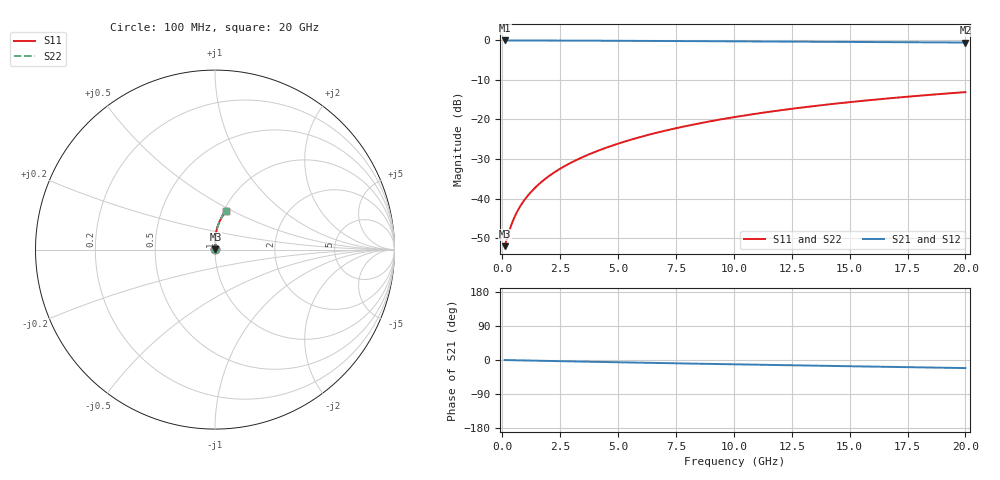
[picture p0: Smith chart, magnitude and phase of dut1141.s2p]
! Touchstone file exported from HFSS 2024.1.0
!  File:  C:/UserFiles/LocalFiles/RDL_TSV_Batchsim/temp_RDL_top_1141_1780047808.aedt
!  Generated:  05:45:42 PM May 29, 2026
!  Design:  RDL_top
!  Project:  temp_RDL_top_1141_1780047808
!  Setup:  Setup1
!  Solution:  Sweep
! Variables:
!  dtsv = 10.80580581um
!  hbump = 3um
!  htsv = 57.94um
!  ldown = 100um
!  lrdl = 272.32um
!  p = 40
!  p1 = 48.56um
!  rhole = 1um
!  t = 450um
!  tdown = 3.915915916um
!  trdl = 2.14um
!  wdown = 15.38538539um
!  wrdl = 24.04um
# GHz S MA R 50.000000
! Terminal data exported
! Port[1] = Box2_T1
! Port[2] = Box2_T2
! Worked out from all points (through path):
!   200 points, 100 MHz to 20 GHz, reference 50 ohm
!   highest |S21| = -0.02 dB at 100 MHz (marker M1); lowest = -0.5 dB at 20 GHz (marker M2)
!   group delay of S21, straight-line fit = 2.93 ps
!   lowest |S11| = -52.0 dB at 100 MHz (marker M3), VSWR 1.01, Z = 50.2 + j0.105 ohm
!   |S11| at or under -10 dB: start of sweep to end of sweep
!   |S22| runs from -52.0 to -13.1 dB; largest |S21 - S12| = 4.5e-15
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0.1  0.002504 24.7  0.9977 -0.1  0.9977 -0.1  0.002504 24.7
! Gamma 0 0 0 0
! Port Impedance 50 0 50 0
0.3  0.0039 52.1  0.9976 -0.4  0.9976 -0.4  0.0039 52.1
0.4  0.004743 58.7  0.9974 -0.5  0.9974 -0.5  0.004743 58.7
0.6  0.006476 66.4  0.9972 -0.8  0.9972 -0.8  0.006476 66.4
0.7  0.007348 69.0  0.9971 -0.9  0.9971 -0.9  0.007348 69.0
0.9  0.009104 72.9  0.9969 -1.1  0.9969 -1.1  0.009104 72.9
1.2  0.01177 76.8  0.9965 -1.5  0.9965 -1.5  0.01177 76.8
1.4  0.01358 78.7  0.9963 -1.7  0.9963 -1.7  0.01358 78.7
1.7  0.01633 80.8  0.9959 -2.1  0.9959 -2.1  0.01633 80.8
2.2  0.02101 83.3  0.9951 -2.7  0.9951 -2.7  0.02101 83.3
2.8  0.02679 85.2  0.9939 -3.4  0.9939 -3.4  0.02679 85.2
3.5  0.03376 86.6  0.9924 -4.3  0.9924 -4.3  0.03376 86.6
4.2  0.04096 87.5  0.9906 -5.1  0.9906 -5.1  0.04096 87.5
5  0.04947 88.0  0.9884 -6.0  0.9884 -6.0  0.04947 88.0
5.9  0.05935 88.1  0.9857 -7.0  0.9857 -7.0  0.05935 88.1
6.8  0.06952 87.9  0.9829 -8.0  0.9829 -8.0  0.06952 87.9
8.4  0.08806 87.0  0.9778 -9.7  0.9778 -9.7  0.08806 87.0
10.1  0.1081 85.5  0.9723 -11.5  0.9723 -11.5  0.1081 85.5
11.7  0.1271 83.8  0.9671 -13.1  0.9671 -13.1  0.1271 83.8
13.4  0.1471 81.9  0.9616 -14.9  0.9616 -14.9  0.1471 81.9
16.7  0.1851 78.2  0.9507 -18.1  0.9507 -18.1  0.1851 78.2
20  0.2218 74.5  0.9396 -21.3  0.9396 -21.3  0.2217 74.5
